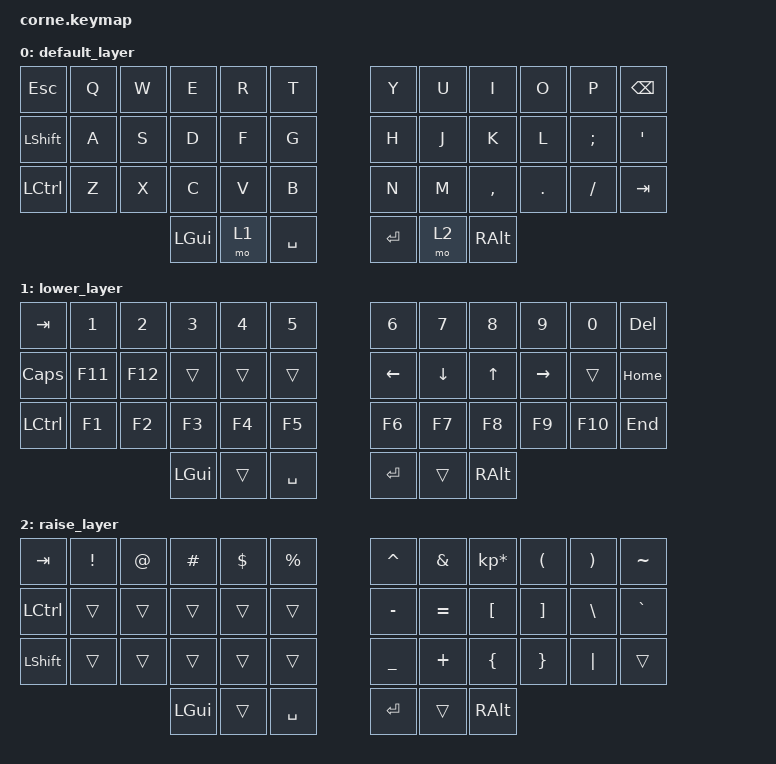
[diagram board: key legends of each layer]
/*
 * Copyright (c) 2020 The ZMK Contributors
 *
 * SPDX-License-Identifier: MIT
 */

#include <behaviors.dtsi>
#include <dt-bindings/zmk/keys.h>
#include <dt-bindings/zmk/bt.h>

/ {
        keymap {
                compatible = "zmk,keymap";

                default_layer {
// -----------------------------------------------------------------------------------------
// |  ESC |  Q  |  W  |  E  |  R  |  T  |   |  Y  |  U   |  I  |  O  |  P  | BKSP |
// | SHFT |  A  |  S  |  D  |  F  |  G  |   |  H  |  J   |  K  |  L  |  ;  |  '   |
// | CTRL |  Z  |  X  |  C  |  V  |  B  |   |  N  |  M   |  ,  |  .  |  /  | TAB  |
//                    | GUI | LWR | SPC |   | ENT | RSE  | ALT |
                        bindings = <
   &kp ESC   &kp Q &kp W &kp E &kp R &kp T   &kp Y &kp U  &kp I     &kp O   &kp P    &kp BSPC
   &kp LSHFT &kp A &kp S &kp D &kp F &kp G   &kp H &kp J  &kp K     &kp L   &kp SEMI &kp SQT
   &kp LCTRL &kp Z &kp X &kp C &kp V &kp B   &kp N &kp M  &kp COMMA &kp DOT &kp FSLH &kp TAB
                  &kp LGUI &mo 1 &kp SPACE   &kp RET &mo 2 &kp RALT
                        >;
                };
                lower_layer {
// -----------------------------------------------------------------------------------------
// |  TAB |  1  |  2  |  3  |  4  |  5  |   |  6  |  7  |  8  |  9  |  0  | DEL |
// | CAPS | F11 | F12 |     |     |     |   | LFT | DWN |  UP | RGT |     | HOME |
// | CTRL |  F1 | F2  | F3  | F4  | F5  |   | F6  | F7  | F8  | F9  | F10  | END |
//                    | GUI |     | SPC |   | ENT |     | ALT |
                        bindings = <
   &kp TAB    &kp N1    &kp N2    &kp N3    &kp N4    &kp N5     &kp N6   &kp N7   &kp N8 &kp N9    &kp N0 &kp DEL
   &kp CAPS &kp F11  &kp F12   &trans  &trans  &trans   &kp LEFT &kp DOWN &kp UP &kp RIGHT &trans &kp HOME
   &kp LCTRL &kp F1  &kp F2  &kp F3  &kp F4  &kp F5   &kp F6  &kp F7  &kp F8  &kp F9  &kp F10 &kp END
                                    &kp LGUI     &trans       &kp SPACE      &kp RET  &trans   &kp RALT
                        >;
                };

                raise_layer {
// -----------------------------------------------------------------------------------------
// |  TAB |  !  |  @  |  #  |  $  |  %  |   |  ^  |  &  |  *  |  (  |  )  |  ~  |
// | CTRL |     |     |     |     |     |   |  -  |  =  |  [  |  ]  |  \  |  `  |
// | SHFT |     |     |     |     |     |   |  _  |  +  |  {  |  }  | "|" |     |
//                    | GUI |     | SPC |   | ENT |     | ALT |
                        bindings = <
   &kp  TAB  &kp EXCL &kp AT &kp HASH &kp DLLR &kp PRCNT   &kp CARET &kp AMPS  &kp KP_MULTIPLY &kp LPAR &kp RPAR &kp TILDE
   &kp LCTRL &trans   &trans &trans   &trans   &trans      &kp MINUS &kp EQUAL &kp LBKT        &kp RBKT &kp BSLH &kp GRAVE
   &kp LSHFT &trans   &trans &trans   &trans   &trans      &kp UNDER &kp PLUS  &kp LBRC        &kp RBRC &kp PIPE &trans 
                             &kp LGUI &trans   &kp SPACE   &kp RET   &trans    &kp RALT
                        >;
                };
        };
};
